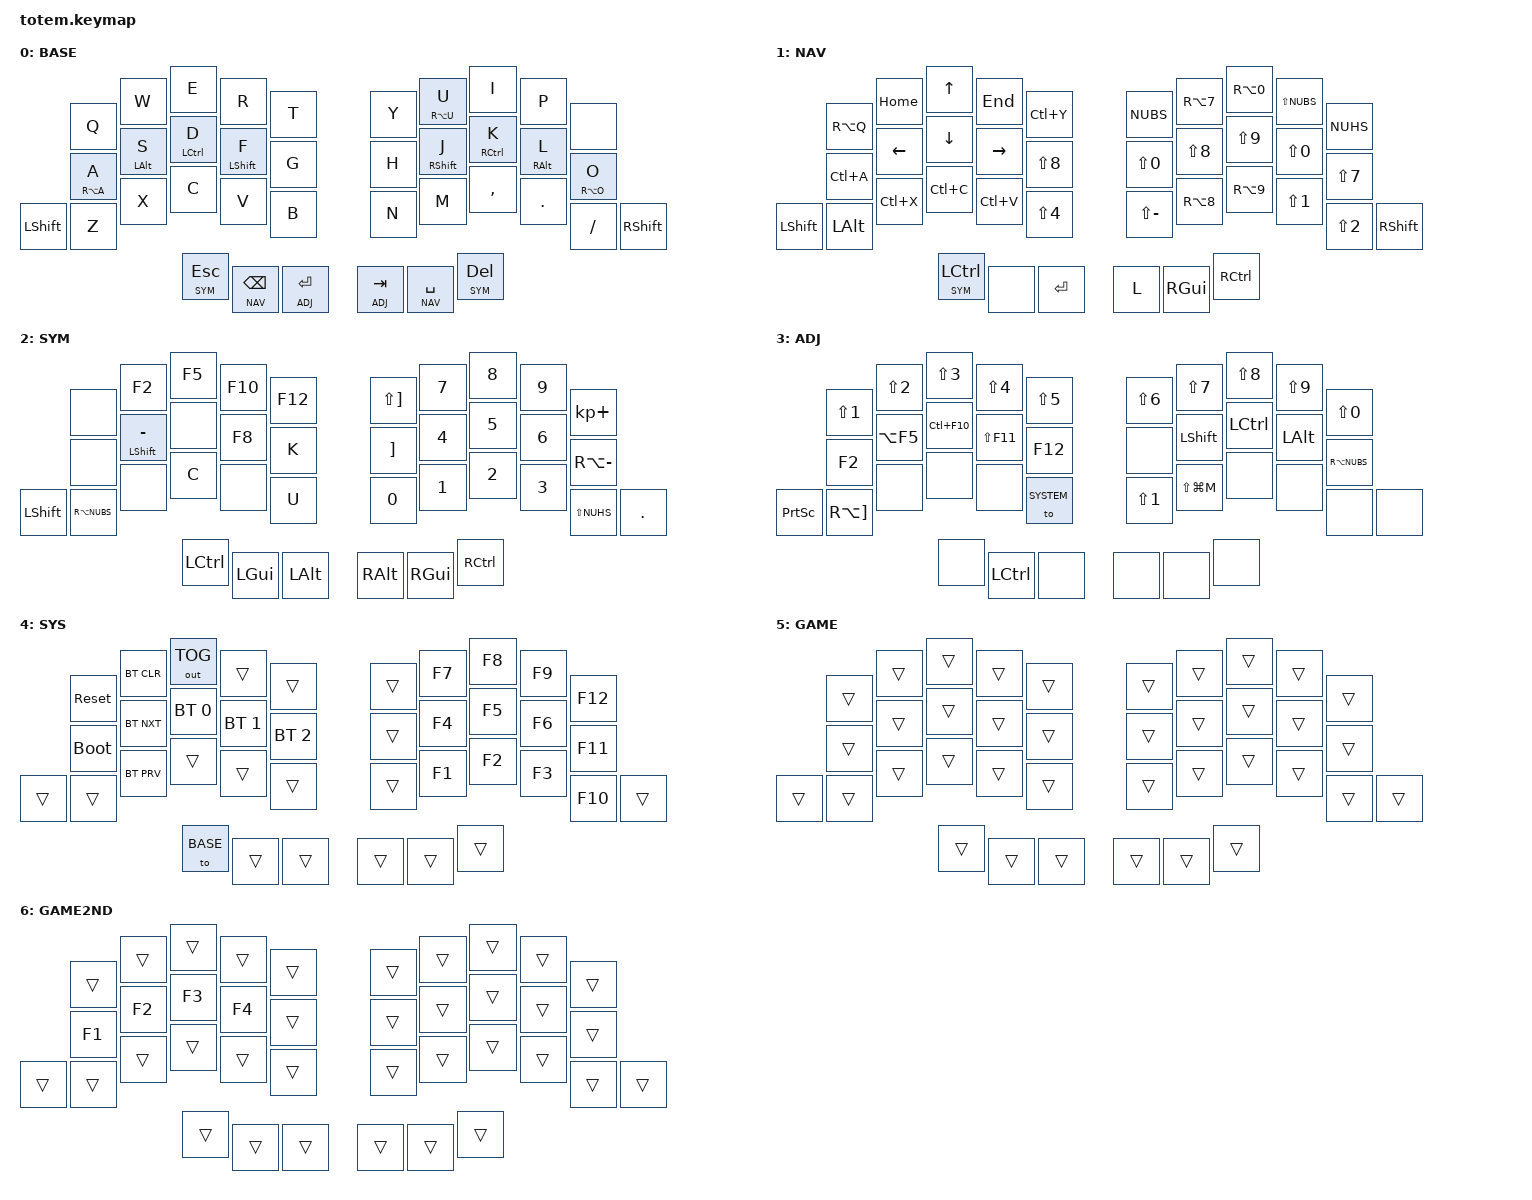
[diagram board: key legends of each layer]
//
//                                                        ▀▀▀▀▀     ▀▀▀▀▀          ▀▀█▀▀
//                                                        ▄▀▀▀▄  ▄  ▄▀▀▀▄  ▄  ▄▀▀▀▄  █  ▄▀▀▀▄
//                                                        █   █  █  █   █  █  █   █  █  █   █
//                                                         ▀▀▀   █   ▀▀▀   █   ▀▀▀   ▀   ▀▀▀
//                                                               █      ▄▄▄█▄▄▄    █   █
//                                                               ▀      █  █  █     █▄█
//                                                             ▀▀▀▀▀    █  █  █      ▀
//                                                                      ▀  ▀  ▀
//
// ▄▄▄▄▄▄▄▄▄▄▄▄▄▄▄▄▄▄▄▄▄▄▄▄▄▄▄▄▄▄▄▄▄▄▄▄▄▄▄▄▄▄▄▄▄▄▄▄▄▄▄▄▄▄▄▄▄▄▄▄▄▄▄▄▄▄▄▄▄▄▄▄▄▄▄▄▄▄▄▄▄▄▄▄▄▄▄▄▄▄▄▄▄▄▄▄▄▄▄▄▄▄▄▄▄▄▄▄▄▄▄▄▄▄▄▄▄▄▄▄▄▄▄▄▄▄▄▄▄▄▄▄▄▄▄▄▄▄▄▄▄▄▄▄▄▄▄▄▄


#include <behaviors.dtsi>
#include <dt-bindings/zmk/keys.h>
#include <dt-bindings/zmk/bt.h>
#include <dt-bindings/zmk/outputs.h>

#define BASE   0
#define NAV    1
#define SYM    2
#define ADJ    3
#define SYSTEM 4
#define GAME   5
#define GAME2ND 6

&mt {
  quick-tap-ms = <100>;
  global-quick-tap;
  flavor = "tap-preferred";
  tapping-term-ms = <170>;
};

&lt {
  quick-tap-ms = <200>;
};

/ {
     behaviors {
        ht: hold_tap {
            compatible = "zmk,behavior-hold-tap";
            #binding-cells = <2>;
            tapping-term-ms = <170>;
            quick-tap-ms = <100>;
            flavor = "tap-preferred";
            bindings = <&kp>, <&kp>;
        };
     };

        keymap {
                compatible = "zmk,keymap";

// ▄▄▄▄▄▄▄▄▄▄▄▄▄▄▄▄▄▄▄▄▄▄▄▄▄▄▄▄▄▄▄▄▄▄▄▄▄▄▄▄▄▄▄▄▄▄▄▄▄▄▄▄▄▄▄▄▄▄▄▄▄▄▄▄▄▄▄▄▄▄▄▄▄▄▄▄▄▄▄▄▄▄▄▄▄▄▄▄▄▄▄▄▄▄▄▄▄▄▄▄▄▄▄▄▄▄▄▄▄▄▄▄▄▄▄▄▄▄▄▄▄▄▄▄▄▄▄▄▄▄▄▄▄▄▄▄▄▄▄▄▄▄▄▄▄▄▄▄▄

                base_layer {
// ┏━━━━━━━━━━━━━━━━━━━━━━━━━━━━━━━━━━━━━━━┓
label= "BASE"                              ;
// ┗━━━━━━━━━━━━━━━━━━━━━━━━━━━━━━━━━━━━━━━┛
//             ┏━━━━━━━━━━━┳━━━━━━━━━━━┳━━━━━━━━━━━┳━━━━━━━━━━━┳━━━━━━━━━━━┓   ┏━━━━━━━━━━━┳━━━━━━━━━━━┳━━━━━━━━━━━┳━━━━━━━━━━━┳━━━━━━━━━━━┓
//             ┃     Q     ┃     W     ┃     E     ┃     R     ┃     T     ┃   ┃     Y     ┃    U/Ü    ┃     I     ┃     P     ┃           ┃
//             ┣━━━━━━━━━━━╋━━━━━━━━━━━╋━━━━━━━━━━━╋━━━━━━━━━━━╋━━━━━━━━━━━┫   ┣━━━━━━━━━━━╋━━━━━━━━━━━╋━━━━━━━━━━━╋━━━━━━━━━━━╋━━━━━━━━━━━┫
//             ┃    A/Ä    ┃  LALT/S   ┃  LCTL/D   ┃  LSFT/F   ┃     G     ┃   ┃     H     ┃  RSFT/J   ┃  RCTL/K   ┃  RALT/L   ┃    O/Ö    ┃
// ┏━━━━━━━━━━━╋━━━━━━━━━━━╋━━━━━━━━━━━╋━━━━━━━━━━━╋━━━━━━━━━━━╋━━━━━━━━━━━┫   ┣━━━━━━━━━━━╋━━━━━━━━━━━╋━━━━━━━━━━━╋━━━━━━━━━━━╋━━━━━━━━━━━╋━━━━━━━━━━━┓
// ┃   LSHFT   ┃     Z     ┃     X     ┃     C     ┃     V     ┃     B     ┃   ┃     N     ┃     M     ┃     ,     ┃     .     ┃     /     ┃   RSHFT   ┃
// ┗━━━━━━━━━━━┻━━━━━━━━━━━┻━━━━━━━━━━━╋━━━━━━━━━━━╋━━━━━━━━━━━╋━━━━━━━━━━━┫   ┣━━━━━━━━━━━╋━━━━━━━━━━━╋━━━━━━━━━━━╋━━━━━━━━━━━┻━━━━━━━━━━━┻━━━━━━━━━━━┛
//                                     ┃  SYM/ESC  ┃  NAV/BSP  ┃  ADJ/ENT  ┃   ┃  ADJ/TAB  ┃  NAV/SPC  ┃  SYM/DEL  ┃
//                                     ┗━━━━━━━━━━━┻━━━━━━━━━━━┻━━━━━━━━━━━┛   ┗━━━━━━━━━━━┻━━━━━━━━━━━┻━━━━━━━━━━━┛
 bindings = <
// ╷           ╷           ╷           ╷           ╷           ╷           ╷   ╷           ╷           ╷           ╷           ╷           ╷           ╷

                &kp Q       &kp W       &kp E       &kp R       &kp T           &kp Y       &ht RA(U) U &kp I       &kp P       &none
                &ht RA(A) A &mt LALT S  &mt LCTRL D &mt LSHFT F &kp G           &kp H       &mt RSHFT J &mt RCTRL K &mt RALT L  &ht RA(O) O
    &kp LSHFT   &kp Z       &kp X       &kp C       &kp V       &kp B           &kp N       &kp M       &kp COMMA   &kp DOT     &kp FSLH    &kp RSHFT
                                        &lt SYM ESC &lt NAV BSPC &lt ADJ RET    &lt ADJ TAB &lt NAV SPACE &lt SYM DEL
                        >;
                };

// ▄▄▄▄▄▄▄▄▄▄▄▄▄▄▄▄▄▄▄▄▄▄▄▄▄▄▄▄▄▄▄▄▄▄▄▄▄▄▄▄▄▄▄▄▄▄▄▄▄▄▄▄▄▄▄▄▄▄▄▄▄▄▄▄▄▄▄▄▄▄▄▄▄▄▄▄▄▄▄▄▄▄▄▄▄▄▄▄▄▄▄▄▄▄▄▄▄▄▄▄▄▄▄▄▄▄▄▄▄▄▄▄▄▄▄▄▄▄▄▄▄▄▄▄▄▄▄▄▄▄▄▄▄▄▄▄▄▄▄▄▄▄▄▄▄▄▄▄▄


                nav_layer {
// ┏━━━━━━━━━━━━━━━━━━━━━━━━━━━━━━━━━━━━━━━┓
label= "NAV"                               ;
// ┗━━━━━━━━━━━━━━━━━━━━━━━━━━━━━━━━━━━━━━━┛
//             ┏━━━━━━━━━━━┳━━━━━━━━━━━┳━━━━━━━━━━━┳━━━━━━━━━━━┳━━━━━━━━━━━┓   ┏━━━━━━━━━━━┳━━━━━━━━━━━┳━━━━━━━━━━━┳━━━━━━━━━━━┳━━━━━━━━━━━┓
//             ┃    @(Q)   ┃   HOME    ┃    UP     ┃    END    ┃  REDO     ┃   ┃     <     ┃     {     ┃     }     ┃     >     ┃     #     ┃
//             ┣━━━━━━━━━━━╋━━━━━━━━━━━╋━━━━━━━━━━━╋━━━━━━━━━━━╋━━━━━━━━━━━┫   ┣━━━━━━━━━━━╋━━━━━━━━━━━╋━━━━━━━━━━━╋━━━━━━━━━━━╋━━━━━━━━━━━┫
//             ┃  SEL-ALL  ┃   LEFT    ┃   DOWN    ┃   RIGHT   ┃           ┃   ┃     =     ┃     (     ┃     )     ┃     =     ┃     /     ┃
// ┏━━━━━━━━━━━╋━━━━━━━━━━━╋━━━━━━━━━━━╋━━━━━━━━━━━╋━━━━━━━━━━━╋━━━━━━━━━━━┫   ┣━━━━━━━━━━━╋━━━━━━━━━━━╋━━━━━━━━━━━╋━━━━━━━━━━━╋━━━━━━━━━━━╋━━━━━━━━━━━┓
// ┃   LSHFT   ┃   LALT    ┃   CUT     ┃   COPY    ┃   PASTE   ┃     $     ┃   ┃     _     ┃     [     ┃     ]     ┃     !     ┃     "     ┃   RSHFT   ┃
// ┗━━━━━━━━━━━┻━━━━━━━━━━━┻━━━━━━━━━━━╋━━━━━━━━━━━╋━━━━━━━━━━━╋━━━━━━━━━━━┫   ┣━━━━━━━━━━━╋━━━━━━━━━━━╋━━━━━━━━━━━╋━━━━━━━━━━━┻━━━━━━━━━━━┻━━━━━━━━━━━┛
//                                     ┃  SYM/CTL  ┃           ┃   ENTER   ┃   ┃     L     ┃   RGUI    ┃   RCTRL   ┃
//                                     ┗━━━━━━━━━━━┻━━━━━━━━━━━┻━━━━━━━━━━━┛   ┗━━━━━━━━━━━┻━━━━━━━━━━━┻━━━━━━━━━━━┛
 bindings = <
// ╷           ╷           ╷           ╷           ╷           ╷           ╷   ╷           ╷           ╷           ╷           ╷           ╷           ╷

                &kp RA(Q)   &kp HOME    &kp UP      &kp END     &kp LC(Y)       &kp NUBS    &kp RA(N7)  &kp RA(N0)  &kp LS(NUBS) &kp NUHS
                &kp LC(A)   &kp LEFT    &kp DOWN    &kp RIGHT   &kp LS(N8)      &kp LS(N0)  &kp LS(N8)  &kp LS(N9)  &kp LS(N0)  &kp LS(N7)
    &kp LSHFT   &kp LALT    &kp LC(X)   &kp LC(C)   &kp LC(V)   &kp LS(N4)      &kp LS(MINUS) &kp RA(N8) &kp RA(N9) &kp LS(N1)  &kp LS(N2)  &kp RSHFT
                                        &lt SYM LCTRL &none     &kp RET         &kp L       &kp RGUI    &kp RCTRL
                        >;
                };

// ▄▄▄▄▄▄▄▄▄▄▄▄▄▄▄▄▄▄▄▄▄▄▄▄▄▄▄▄▄▄▄▄▄▄▄▄▄▄▄▄▄▄▄▄▄▄▄▄▄▄▄▄▄▄▄▄▄▄▄▄▄▄▄▄▄▄▄▄▄▄▄▄▄▄▄▄▄▄▄▄▄▄▄▄▄▄▄▄▄▄▄▄▄▄▄▄▄▄▄▄▄▄▄▄▄▄▄▄▄▄▄▄▄▄▄▄▄▄▄▄▄▄▄▄▄▄▄▄▄▄▄▄▄▄▄▄▄▄▄▄▄▄▄▄▄▄▄▄▄


                sim_layer {
// ┏━━━━━━━━━━━━━━━━━━━━━━━━━━━━━━━━━━━━━━━┓
label= "SYM"                               ;
// ┗━━━━━━━━━━━━━━━━━━━━━━━━━━━━━━━━━━━━━━━┛
//             ┏━━━━━━━━━━━┳━━━━━━━━━━━┳━━━━━━━━━━━┳━━━━━━━━━━━┳━━━━━━━━━━━┓   ┏━━━━━━━━━━━┳━━━━━━━━━━━┳━━━━━━━━━━━┳━━━━━━━━━━━┳━━━━━━━━━━━┓
//             ┃           ┃    F2     ┃    F5     ┃   F10     ┃   F12     ┃   ┃     *     ┃     7     ┃     8     ┃     9     ┃     +     ┃
//             ┣━━━━━━━━━━━╋━━━━━━━━━━━╋━━━━━━━━━━━╋━━━━━━━━━━━╋━━━━━━━━━━━┫   ┣━━━━━━━━━━━╋━━━━━━━━━━━╋━━━━━━━━━━━╋━━━━━━━━━━━╋━━━━━━━━━━━┫
//             ┃           ┃  LSFT/-   ┃           ┃    F8     ┃     K     ┃   ┃     +     ┃     4     ┃     5     ┃     6     ┃     \     ┃
// ┏━━━━━━━━━━━╋━━━━━━━━━━━╋━━━━━━━━━━━╋━━━━━━━━━━━╋━━━━━━━━━━━╋━━━━━━━━━━━┫   ┣━━━━━━━━━━━╋━━━━━━━━━━━╋━━━━━━━━━━━╋━━━━━━━━━━━╋━━━━━━━━━━━╋━━━━━━━━━━━┓
// ┃   LSHFT   ┃    ~      ┃           ┃     C     ┃           ┃     U     ┃   ┃     0     ┃     1     ┃     2     ┃     3     ┃     '     ┃    DOT    ┃
// ┗━━━━━━━━━━━┻━━━━━━━━━━━┻━━━━━━━━━━━╋━━━━━━━━━━━╋━━━━━━━━━━━╋━━━━━━━━━━━┫   ┣━━━━━━━━━━━╋━━━━━━━━━━━╋━━━━━━━━━━━╋━━━━━━━━━━━┻━━━━━━━━━━━┻━━━━━━━━━━━┛
//                                     ┃   LCTRL   ┃   LGUI    ┃   LALT    ┃   ┃   RALT    ┃   RGUI    ┃   RCTRL   ┃
//                                     ┗━━━━━━━━━━━┻━━━━━━━━━━━┻━━━━━━━━━━━┛   ┗━━━━━━━━━━━┻━━━━━━━━━━━┻━━━━━━━━━━━┛
 bindings = <
// ╷           ╷           ╷           ╷           ╷           ╷           ╷   ╷           ╷           ╷           ╷           ╷           ╷           ╷

                &none       &kp F2      &kp F5      &kp F10     &kp F12         &kp LS(RBKT) &kp N7     &kp N8      &kp N9      &kp KP_PLUS
                &none       &mt LSHFT MINUS &none   &kp F8      &kp K           &kp RBKT    &kp N4      &kp N5      &kp N6      &kp RA(MINUS)
    &kp LSHFT   &kp RA(NUBS) &none      &kp C       &none       &kp U           &kp N0      &kp N1      &kp N2      &kp N3      &kp LS(NUHS) &kp DOT
                                        &kp LCTRL   &kp LGUI    &kp LALT        &kp RALT    &kp RGUI    &kp RCTRL
                        >;
                };

// ▄▄▄▄▄▄▄▄▄▄▄▄▄▄▄▄▄▄▄▄▄▄▄▄▄▄▄▄▄▄▄▄▄▄▄▄▄▄▄▄▄▄▄▄▄▄▄▄▄▄▄▄▄▄▄▄▄▄▄▄▄▄▄▄▄▄▄▄▄▄▄▄▄▄▄▄▄▄▄▄▄▄▄▄▄▄▄▄▄▄▄▄▄▄▄▄▄▄▄▄▄▄▄▄▄▄▄▄▄▄▄▄▄▄▄▄▄▄▄▄▄▄▄▄▄▄▄▄▄▄▄▄▄▄▄▄▄▄▄▄▄▄▄▄▄▄▄▄▄


                adjust_layer {
// ┏━━━━━━━━━━━━━━━━━━━━━━━━━━━━━━━━━━━━━━━┓
label= "ADJ"                               ;
// ┗━━━━━━━━━━━━━━━━━━━━━━━━━━━━━━━━━━━━━━━┛
//             ┏━━━━━━━━━━━┳━━━━━━━━━━━┳━━━━━━━━━━━┳━━━━━━━━━━━┳━━━━━━━━━━━┓   ┏━━━━━━━━━━━┳━━━━━━━━━━━┳━━━━━━━━━━━┳━━━━━━━━━━━┳━━━━━━━━━━━┓
//             ┃     !     ┃     "     ┃     §     ┃     $     ┃     %     ┃   ┃     &     ┃     /     ┃     (     ┃     )     ┃     =     ┃
//             ┣━━━━━━━━━━━╋━━━━━━━━━━━╋━━━━━━━━━━━╋━━━━━━━━━━━╋━━━━━━━━━━━┫   ┣━━━━━━━━━━━╋━━━━━━━━━━━╋━━━━━━━━━━━╋━━━━━━━━━━━╋━━━━━━━━━━━┫
//             ┃    F2     ┃  ALT/F5   ┃  CTL/F10  ┃  SFT/F11  ┃   F12     ┃   ┃           ┃   LSHFT   ┃   LCTRL   ┃   LALT    ┃    ~      ┃
// ┏━━━━━━━━━━━╋━━━━━━━━━━━╋━━━━━━━━━━━╋━━━━━━━━━━━╋━━━━━━━━━━━╋━━━━━━━━━━━┫   ┣━━━━━━━━━━━╋━━━━━━━━━━━╋━━━━━━━━━━━╋━━━━━━━━━━━╋━━━━━━━━━━━╋━━━━━━━━━━━┓
// ┃  PSCR     ┃    ~      ┃           ┃           ┃           ┃  →SYS     ┃   ┃     !     ┃  WIN+M    ┃           ┃           ┃           ┃           ┃
// ┗━━━━━━━━━━━┻━━━━━━━━━━━┻━━━━━━━━━━━╋━━━━━━━━━━━╋━━━━━━━━━━━╋━━━━━━━━━━━┫   ┣━━━━━━━━━━━╋━━━━━━━━━━━╋━━━━━━━━━━━╋━━━━━━━━━━━┻━━━━━━━━━━━┻━━━━━━━━━━━┛
//                                     ┃           ┃   LCTRL   ┃           ┃   ┃           ┃           ┃           ┃
//                                     ┗━━━━━━━━━━━┻━━━━━━━━━━━┻━━━━━━━━━━━┛   ┗━━━━━━━━━━━┻━━━━━━━━━━━┻━━━━━━━━━━━┛
 bindings = <
// ╷           ╷           ╷           ╷           ╷           ╷           ╷   ╷           ╷           ╷           ╷           ╷           ╷           ╷

                &kp LS(N1)  &kp LS(N2)  &kp LS(N3)  &kp LS(N4)  &kp LS(N5)      &kp LS(N6)  &kp LS(N7)  &kp LS(N8)  &kp LS(N9)  &kp LS(N0)
                &kp F2      &kp LA(F5)  &kp LC(F10) &kp LS(F11) &kp F12         &none       &kp LSHFT   &kp LCTRL   &kp LALT    &kp RA(NUBS)
    &kp PSCRN   &kp RA(RBKT) &none      &none       &none       &to SYSTEM      &kp LS(N1)  &kp LS(LG(M)) &none     &none       &none       &none
                                        &none       &kp LCTRL   &none           &none       &none       &none
                        >;
                };

// ▄▄▄▄▄▄▄▄▄▄▄▄▄▄▄▄▄▄▄▄▄▄▄▄▄▄▄▄▄▄▄▄▄▄▄▄▄▄▄▄▄▄▄▄▄▄▄▄▄▄▄▄▄▄▄▄▄▄▄▄▄▄▄▄▄▄▄▄▄▄▄▄▄▄▄▄▄▄▄▄▄▄▄▄▄▄▄▄▄▄▄▄▄▄▄▄▄▄▄▄▄▄▄▄▄▄▄▄▄▄▄▄▄▄▄▄▄▄▄▄▄▄▄▄▄▄▄▄▄▄▄▄▄▄▄▄▄▄▄▄▄▄▄▄▄▄▄▄▄


                system_layer {
// ┏━━━━━━━━━━━━━━━━━━━━━━━━━━━━━━━━━━━━━━━┓
label= "SYS"                               ;
// ┗━━━━━━━━━━━━━━━━━━━━━━━━━━━━━━━━━━━━━━━┛
//             ┏━━━━━━━━━━━┳━━━━━━━━━━━┳━━━━━━━━━━━┳━━━━━━━━━━━┳━━━━━━━━━━━┓   ┏━━━━━━━━━━━┳━━━━━━━━━━━┳━━━━━━━━━━━┳━━━━━━━━━━━┳━━━━━━━━━━━┓
//             ┃   RESET   ┃ BT CLEAR  ┃  OUT TOG  ┃           ┃           ┃   ┃           ┃    F7     ┃    F8     ┃    F9     ┃    F12    ┃
//             ┣━━━━━━━━━━━╋━━━━━━━━━━━╋━━━━━━━━━━━╋━━━━━━━━━━━╋━━━━━━━━━━━┫   ┣━━━━━━━━━━━╋━━━━━━━━━━━╋━━━━━━━━━━━╋━━━━━━━━━━━╋━━━━━━━━━━━┫
//             ┃ BOOTLOAD  ┃ BT NEXT   ┃  BT SEL0  ┃  BT SEL1  ┃  BT SEL2  ┃   ┃           ┃    F4     ┃    F5     ┃    F6     ┃    F11    ┃
// ┏━━━━━━━━━━━╋━━━━━━━━━━━╋━━━━━━━━━━━╋━━━━━━━━━━━╋━━━━━━━━━━━╋━━━━━━━━━━━┫   ┣━━━━━━━━━━━╋━━━━━━━━━━━╋━━━━━━━━━━━╋━━━━━━━━━━━╋━━━━━━━━━━━╋━━━━━━━━━━━┓
// ┃           ┃           ┃ BT PREV   ┃           ┃           ┃           ┃   ┃           ┃    F1     ┃    F2     ┃    F3     ┃    F10    ┃           ┃
// ┗━━━━━━━━━━━┻━━━━━━━━━━━┻━━━━━━━━━━━╋━━━━━━━━━━━╋━━━━━━━━━━━╋━━━━━━━━━━━┫   ┣━━━━━━━━━━━╋━━━━━━━━━━━╋━━━━━━━━━━━╋━━━━━━━━━━━┻━━━━━━━━━━━┻━━━━━━━━━━━┛
//                                     ┃  ←BASE    ┃           ┃           ┃   ┃           ┃           ┃           ┃
//                                     ┗━━━━━━━━━━━┻━━━━━━━━━━━┻━━━━━━━━━━━┛   ┗━━━━━━━━━━━┻━━━━━━━━━━━┻━━━━━━━━━━━┛
 bindings = <
// ╷           ╷           ╷           ╷           ╷           ╷           ╷   ╷           ╷           ╷           ╷           ╷           ╷           ╷

                &sys_reset  &bt BT_CLR  &out OUT_TOG &trans     &trans          &trans      &kp F7      &kp F8      &kp F9      &kp F12
                &bootloader &bt BT_NXT  &bt BT_SEL 0 &bt BT_SEL 1 &bt BT_SEL 2 &trans      &kp F4      &kp F5      &kp F6      &kp F11
    &trans      &trans      &bt BT_PRV  &trans      &trans      &trans          &trans      &kp F1      &kp F2      &kp F3      &kp F10     &trans
                                        &to BASE    &trans      &trans          &trans      &trans      &trans
                        >;
                };

                game_layer {
// ┏━━━━━━━━━━━━━━━━━━━━━━━━━━━━━━━━━━━━━━━┓
label= "GAME"                               ;
// ┗━━━━━━━━━━━━━━━━━━━━━━━━━━━━━━━━━━━━━━━┛
//             ┏━━━━━━━━━━━┳━━━━━━━━━━━┳━━━━━━━━━━━┳━━━━━━━━━━━┳━━━━━━━━━━━┓   ┏━━━━━━━━━━━┳━━━━━━━━━━━┳━━━━━━━━━━━┳━━━━━━━━━━━┳━━━━━━━━━━━┓
//             ┃           ┃           ┃           ┃           ┃           ┃   ┃           ┃           ┃           ┃           ┃           ┃
//             ┣━━━━━━━━━━━╋━━━━━━━━━━━╋━━━━━━━━━━━╋━━━━━━━━━━━╋━━━━━━━━━━━┫   ┣━━━━━━━━━━━╋━━━━━━━━━━━╋━━━━━━━━━━━╋━━━━━━━━━━━╋━━━━━━━━━━━┫
//             ┃           ┃           ┃           ┃           ┃           ┃   ┃           ┃           ┃           ┃           ┃           ┃
// ┏━━━━━━━━━━━╋━━━━━━━━━━━╋━━━━━━━━━━━╋━━━━━━━━━━━╋━━━━━━━━━━━╋━━━━━━━━━━━┫   ┣━━━━━━━━━━━╋━━━━━━━━━━━╋━━━━━━━━━━━╋━━━━━━━━━━━╋━━━━━━━━━━━╋━━━━━━━━━━━┓
// ┃           ┃           ┃           ┃           ┃           ┃           ┃   ┃           ┃           ┃           ┃           ┃           ┃           ┃
// ┗━━━━━━━━━━━┻━━━━━━━━━━━┻━━━━━━━━━━━╋━━━━━━━━━━━╋━━━━━━━━━━━╋━━━━━━━━━━━┫   ┣━━━━━━━━━━━╋━━━━━━━━━━━╋━━━━━━━━━━━╋━━━━━━━━━━━┻━━━━━━━━━━━┻━━━━━━━━━━━┛
//                                     ┃           ┃           ┃           ┃   ┃           ┃           ┃           ┃
//                                     ┗━━━━━━━━━━━┻━━━━━━━━━━━┻━━━━━━━━━━━┛   ┗━━━━━━━━━━━┻━━━━━━━━━━━┻━━━━━━━━━━━┛
 bindings = <
// ╷           ╷           ╷           ╷           ╷           ╷           ╷   ╷           ╷           ╷           ╷           ╷           ╷           ╷

                &trans      &trans      &trans      &trans      &trans          &trans      &trans      &trans      &trans      &trans
                &trans      &trans      &trans      &trans      &trans          &trans      &trans      &trans      &trans      &trans  
    &trans      &trans      &trans      &trans      &trans      &trans          &trans      &trans      &trans      &trans      &trans     &trans         
                                        &trans      &trans      &trans          &trans      &trans      &trans      
                        >;
                };

                                game2nd_layer {
// ┏━━━━━━━━━━━━━━━━━━━━━━━━━━━━━━━━━━━━━━━┓
label= "GAME2ND"                            ;
// ┗━━━━━━━━━━━━━━━━━━━━━━━━━━━━━━━━━━━━━━━┛
//             ┏━━━━━━━━━━━┳━━━━━━━━━━━┳━━━━━━━━━━━┳━━━━━━━━━━━┳━━━━━━━━━━━┓   ┏━━━━━━━━━━━┳━━━━━━━━━━━┳━━━━━━━━━━━┳━━━━━━━━━━━┳━━━━━━━━━━━┓
//             ┃           ┃           ┃           ┃           ┃           ┃   ┃           ┃           ┃           ┃           ┃           ┃
//             ┣━━━━━━━━━━━╋━━━━━━━━━━━╋━━━━━━━━━━━╋━━━━━━━━━━━╋━━━━━━━━━━━┫   ┣━━━━━━━━━━━╋━━━━━━━━━━━╋━━━━━━━━━━━╋━━━━━━━━━━━╋━━━━━━━━━━━┫
//             ┃           ┃           ┃           ┃           ┃           ┃   ┃           ┃           ┃           ┃           ┃           ┃
// ┏━━━━━━━━━━━╋━━━━━━━━━━━╋━━━━━━━━━━━╋━━━━━━━━━━━╋━━━━━━━━━━━╋━━━━━━━━━━━┫   ┣━━━━━━━━━━━╋━━━━━━━━━━━╋━━━━━━━━━━━╋━━━━━━━━━━━╋━━━━━━━━━━━╋━━━━━━━━━━━┓
// ┃           ┃           ┃           ┃           ┃           ┃           ┃   ┃           ┃           ┃           ┃           ┃           ┃           ┃
// ┗━━━━━━━━━━━┻━━━━━━━━━━━┻━━━━━━━━━━━╋━━━━━━━━━━━╋━━━━━━━━━━━╋━━━━━━━━━━━┫   ┣━━━━━━━━━━━╋━━━━━━━━━━━╋━━━━━━━━━━━╋━━━━━━━━━━━┻━━━━━━━━━━━┻━━━━━━━━━━━┛
//                                     ┃           ┃           ┃           ┃   ┃           ┃           ┃           ┃
//                                     ┗━━━━━━━━━━━┻━━━━━━━━━━━┻━━━━━━━━━━━┛   ┗━━━━━━━━━━━┻━━━━━━━━━━━┻━━━━━━━━━━━┛
 bindings = <
// ╷           ╷           ╷           ╷           ╷           ╷           ╷   ╷           ╷           ╷           ╷           ╷           ╷           ╷

                &trans      &trans      &trans      &trans      &trans          &trans      &trans      &trans      &trans      &trans
                &kp F1      &kp F2      &kp F3      &kp F4      &trans          &trans      &trans      &trans      &trans      &trans
    &trans      &trans      &trans      &trans      &trans      &trans          &trans      &trans      &trans      &trans      &trans     &trans
                                        &trans      &trans      &trans          &trans      &trans      &trans
                        >;
                };
        };
};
